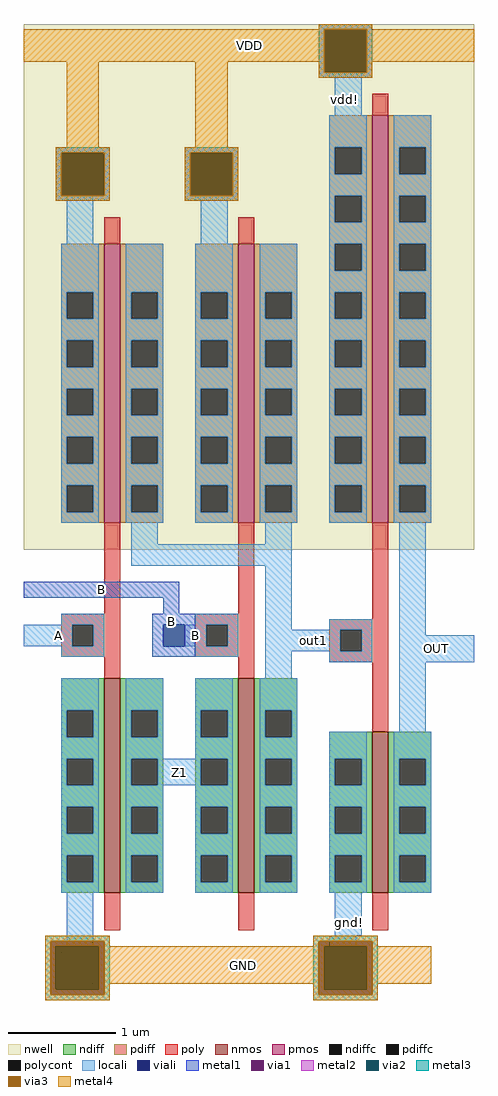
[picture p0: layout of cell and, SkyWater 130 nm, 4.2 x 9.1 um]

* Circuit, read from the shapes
.subckt and A B GND OUT VDD Z1 out1 vdd!
XM1 Z1 A GND VSUBS sky130_fd_pr__nfet_01v8 w=2 l=0.15
XM2 out1 B Z1 VSUBS sky130_fd_pr__nfet_01v8 w=2 l=0.15
XM3 OUT out1 GND VSUBS sky130_fd_pr__nfet_01v8 w=1.5 l=0.15
XM4 out1 A vdd! VDD sky130_fd_pr__pfet_01v8 w=2.6 l=0.15
XM5 out1 B vdd! VDD sky130_fd_pr__pfet_01v8 w=2.6 l=0.15
XM6 OUT out1 vdd! VDD sky130_fd_pr__pfet_01v8 w=3.8 l=0.15
.ends

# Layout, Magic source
magic
tech sky130A
<< nwell >>
rect -85 -15 335 475
<< nmos >>
rect -10 -335 5 -135
rect 115 -335 130 -135
rect 240 -335 255 -185
<< pmos >>
rect -10 10 5 270
rect 115 10 130 270
rect 240 10 255 390
<< ndiff >>
rect -50 -165 -10 -135
rect -50 -190 -45 -165
rect -20 -190 -10 -165
rect -50 -210 -10 -190
rect -50 -235 -45 -210
rect -20 -235 -10 -210
rect -50 -255 -10 -235
rect -50 -280 -45 -255
rect -20 -280 -10 -255
rect -50 -300 -10 -280
rect -50 -325 -45 -300
rect -20 -325 -10 -300
rect -50 -335 -10 -325
rect 5 -165 45 -135
rect 5 -190 15 -165
rect 40 -190 45 -165
rect 5 -210 45 -190
rect 5 -235 15 -210
rect 40 -235 45 -210
rect 5 -255 45 -235
rect 5 -280 15 -255
rect 40 -280 45 -255
rect 5 -300 45 -280
rect 5 -325 15 -300
rect 40 -325 45 -300
rect 5 -335 45 -325
rect 75 -165 115 -135
rect 75 -190 80 -165
rect 105 -190 115 -165
rect 75 -210 115 -190
rect 75 -235 80 -210
rect 105 -235 115 -210
rect 75 -255 115 -235
rect 75 -280 80 -255
rect 105 -280 115 -255
rect 75 -300 115 -280
rect 75 -325 80 -300
rect 105 -325 115 -300
rect 75 -335 115 -325
rect 130 -165 170 -135
rect 130 -190 140 -165
rect 165 -190 170 -165
rect 130 -210 170 -190
rect 130 -235 140 -210
rect 165 -235 170 -210
rect 130 -255 170 -235
rect 130 -280 140 -255
rect 165 -280 170 -255
rect 130 -300 170 -280
rect 130 -325 140 -300
rect 165 -325 170 -300
rect 130 -335 170 -325
rect 200 -210 240 -185
rect 200 -235 205 -210
rect 230 -235 240 -210
rect 200 -255 240 -235
rect 200 -280 205 -255
rect 230 -280 240 -255
rect 200 -300 240 -280
rect 200 -325 205 -300
rect 230 -325 240 -300
rect 200 -335 240 -325
rect 255 -210 295 -185
rect 255 -235 265 -210
rect 290 -235 295 -210
rect 255 -255 295 -235
rect 255 -280 265 -255
rect 290 -280 295 -255
rect 255 -300 295 -280
rect 255 -325 265 -300
rect 290 -325 295 -300
rect 255 -335 295 -325
<< pdiff >>
rect 200 360 240 390
rect 200 335 205 360
rect 230 335 240 360
rect 200 315 240 335
rect 200 290 205 315
rect 230 290 240 315
rect 200 270 240 290
rect -50 225 -10 270
rect -50 200 -45 225
rect -20 200 -10 225
rect -50 180 -10 200
rect -50 155 -45 180
rect -20 155 -10 180
rect -50 135 -10 155
rect -50 110 -45 135
rect -20 110 -10 135
rect -50 90 -10 110
rect -50 65 -45 90
rect -20 65 -10 90
rect -50 45 -10 65
rect -50 20 -45 45
rect -20 20 -10 45
rect -50 10 -10 20
rect 5 225 45 270
rect 5 200 15 225
rect 40 200 45 225
rect 5 180 45 200
rect 5 155 15 180
rect 40 155 45 180
rect 5 135 45 155
rect 5 110 15 135
rect 40 110 45 135
rect 5 90 45 110
rect 5 65 15 90
rect 40 65 45 90
rect 5 45 45 65
rect 5 20 15 45
rect 40 20 45 45
rect 5 10 45 20
rect 75 225 115 270
rect 75 200 80 225
rect 105 200 115 225
rect 75 180 115 200
rect 75 155 80 180
rect 105 155 115 180
rect 75 135 115 155
rect 75 110 80 135
rect 105 110 115 135
rect 75 90 115 110
rect 75 65 80 90
rect 105 65 115 90
rect 75 45 115 65
rect 75 20 80 45
rect 105 20 115 45
rect 75 10 115 20
rect 130 225 170 270
rect 130 200 140 225
rect 165 200 170 225
rect 130 180 170 200
rect 130 155 140 180
rect 165 155 170 180
rect 130 135 170 155
rect 130 110 140 135
rect 165 110 170 135
rect 130 90 170 110
rect 130 65 140 90
rect 165 65 170 90
rect 130 45 170 65
rect 130 20 140 45
rect 165 20 170 45
rect 130 10 170 20
rect 200 245 205 270
rect 230 245 240 270
rect 200 225 240 245
rect 200 200 205 225
rect 230 200 240 225
rect 200 180 240 200
rect 200 155 205 180
rect 230 155 240 180
rect 200 135 240 155
rect 200 110 205 135
rect 230 110 240 135
rect 200 90 240 110
rect 200 65 205 90
rect 230 65 240 90
rect 200 45 240 65
rect 200 20 205 45
rect 230 20 240 45
rect 200 10 240 20
rect 255 360 295 390
rect 255 335 265 360
rect 290 335 295 360
rect 255 315 295 335
rect 255 290 265 315
rect 290 290 295 315
rect 255 270 295 290
rect 255 245 265 270
rect 290 245 295 270
rect 255 225 295 245
rect 255 200 265 225
rect 290 200 295 225
rect 255 180 295 200
rect 255 155 265 180
rect 290 155 295 180
rect 255 135 295 155
rect 255 110 265 135
rect 290 110 295 135
rect 255 90 295 110
rect 255 65 265 90
rect 290 65 295 90
rect 255 45 295 65
rect 255 20 265 45
rect 290 20 295 45
rect 255 10 295 20
<< ndiffc >>
rect -45 -190 -20 -165
rect -45 -235 -20 -210
rect -45 -280 -20 -255
rect -45 -325 -20 -300
rect 15 -190 40 -165
rect 15 -235 40 -210
rect 15 -280 40 -255
rect 15 -325 40 -300
rect 80 -190 105 -165
rect 80 -235 105 -210
rect 80 -280 105 -255
rect 80 -325 105 -300
rect 140 -190 165 -165
rect 140 -235 165 -210
rect 140 -280 165 -255
rect 140 -325 165 -300
rect 205 -235 230 -210
rect 205 -280 230 -255
rect 205 -325 230 -300
rect 265 -235 290 -210
rect 265 -280 290 -255
rect 265 -325 290 -300
<< pdiffc >>
rect 205 335 230 360
rect 205 290 230 315
rect -45 200 -20 225
rect -45 155 -20 180
rect -45 110 -20 135
rect -45 65 -20 90
rect -45 20 -20 45
rect 15 200 40 225
rect 15 155 40 180
rect 15 110 40 135
rect 15 65 40 90
rect 15 20 40 45
rect 80 200 105 225
rect 80 155 105 180
rect 80 110 105 135
rect 80 65 105 90
rect 80 20 105 45
rect 140 200 165 225
rect 140 155 165 180
rect 140 110 165 135
rect 140 65 165 90
rect 140 20 165 45
rect 205 245 230 270
rect 205 200 230 225
rect 205 155 230 180
rect 205 110 230 135
rect 205 65 230 90
rect 205 20 230 45
rect 265 335 290 360
rect 265 290 290 315
rect 265 245 290 270
rect 265 200 290 225
rect 265 155 290 180
rect 265 110 290 135
rect 265 65 290 90
rect 265 20 290 45
<< poly >>
rect 240 390 255 410
rect -10 270 5 295
rect 115 270 130 295
rect -10 -75 5 10
rect 115 -75 130 10
rect -50 -85 5 -75
rect -50 -105 -40 -85
rect -20 -105 5 -85
rect -50 -115 5 -105
rect 75 -85 130 -75
rect 240 -80 255 10
rect 75 -105 85 -85
rect 105 -105 130 -85
rect 75 -115 130 -105
rect -10 -135 5 -115
rect 115 -135 130 -115
rect 200 -90 255 -80
rect 200 -110 210 -90
rect 230 -110 255 -90
rect 200 -120 255 -110
rect 240 -185 255 -120
rect -10 -370 5 -335
rect 115 -370 130 -335
rect 240 -370 255 -335
<< polycont >>
rect -40 -105 -20 -85
rect 85 -105 105 -85
rect 210 -110 230 -90
<< locali >>
rect 200 440 205 460
rect 225 440 230 460
rect 200 425 230 440
rect 205 390 230 425
rect 200 360 235 390
rect -45 325 -40 345
rect -45 270 -20 325
rect 75 325 80 345
rect 100 325 105 345
rect 75 310 105 325
rect 80 270 105 310
rect 200 335 205 360
rect 230 335 235 360
rect 200 315 235 335
rect 200 290 205 315
rect 230 290 235 315
rect 200 270 235 290
rect -50 225 -15 270
rect -50 200 -45 225
rect -20 200 -15 225
rect -50 180 -15 200
rect -50 155 -45 180
rect -20 155 -15 180
rect -50 135 -15 155
rect -50 110 -45 135
rect -20 110 -15 135
rect -50 90 -15 110
rect -50 65 -45 90
rect -20 65 -15 90
rect -50 45 -15 65
rect -50 20 -45 45
rect -20 20 -15 45
rect -50 10 -15 20
rect 10 225 45 270
rect 10 200 15 225
rect 40 200 45 225
rect 10 180 45 200
rect 10 155 15 180
rect 40 155 45 180
rect 10 135 45 155
rect 10 110 15 135
rect 40 110 45 135
rect 10 90 45 110
rect 10 65 15 90
rect 40 65 45 90
rect 10 45 45 65
rect 10 20 15 45
rect 40 20 45 45
rect 10 10 45 20
rect 75 225 110 270
rect 75 200 80 225
rect 105 200 110 225
rect 75 180 110 200
rect 75 155 80 180
rect 105 155 110 180
rect 75 135 110 155
rect 75 110 80 135
rect 105 110 110 135
rect 75 90 110 110
rect 75 65 80 90
rect 105 65 110 90
rect 75 45 110 65
rect 75 20 80 45
rect 105 20 110 45
rect 75 10 110 20
rect 135 225 170 270
rect 135 200 140 225
rect 165 200 170 225
rect 135 180 170 200
rect 135 155 140 180
rect 165 155 170 180
rect 135 135 170 155
rect 135 110 140 135
rect 165 110 170 135
rect 135 90 170 110
rect 135 65 140 90
rect 165 65 170 90
rect 135 45 170 65
rect 135 20 140 45
rect 165 20 170 45
rect 135 10 170 20
rect 200 245 205 270
rect 230 245 235 270
rect 200 225 235 245
rect 200 200 205 225
rect 230 200 235 225
rect 200 180 235 200
rect 200 155 205 180
rect 230 155 235 180
rect 200 135 235 155
rect 200 110 205 135
rect 230 110 235 135
rect 200 90 235 110
rect 200 65 205 90
rect 230 65 235 90
rect 200 45 235 65
rect 200 20 205 45
rect 230 20 235 45
rect 200 10 235 20
rect 260 360 295 390
rect 260 335 265 360
rect 290 335 295 360
rect 260 315 295 335
rect 260 290 265 315
rect 290 290 295 315
rect 260 270 295 290
rect 260 245 265 270
rect 290 245 295 270
rect 260 225 295 245
rect 260 200 265 225
rect 290 200 295 225
rect 260 180 295 200
rect 260 155 265 180
rect 290 155 295 180
rect 260 135 295 155
rect 260 110 265 135
rect 290 110 295 135
rect 260 90 295 110
rect 260 65 265 90
rect 290 65 295 90
rect 260 45 295 65
rect 260 20 265 45
rect 290 20 295 45
rect 260 10 295 20
rect 15 -10 40 10
rect 140 -10 165 10
rect 15 -30 165 -10
rect -50 -85 -10 -75
rect 75 -85 115 -75
rect -85 -105 -40 -85
rect -20 -105 -10 -85
rect 65 -105 85 -85
rect 105 -105 115 -85
rect -50 -115 -10 -105
rect 75 -115 115 -105
rect 140 -90 165 -30
rect 200 -90 240 -80
rect 140 -110 210 -90
rect 230 -110 240 -90
rect 140 -135 165 -110
rect 200 -120 240 -110
rect 265 -95 290 10
rect 265 -120 335 -95
rect -50 -165 -15 -135
rect -50 -190 -45 -165
rect -20 -190 -15 -165
rect -50 -210 -15 -190
rect -50 -235 -45 -210
rect -20 -235 -15 -210
rect -50 -255 -15 -235
rect -50 -280 -45 -255
rect -20 -280 -15 -255
rect -50 -300 -15 -280
rect -50 -325 -45 -300
rect -20 -325 -15 -300
rect -50 -335 -15 -325
rect 10 -165 45 -135
rect 10 -190 15 -165
rect 40 -190 45 -165
rect 10 -210 45 -190
rect 75 -165 110 -135
rect 75 -190 80 -165
rect 105 -190 110 -165
rect 75 -210 110 -190
rect 10 -235 15 -210
rect 40 -235 80 -210
rect 105 -235 110 -210
rect 10 -255 45 -235
rect 10 -280 15 -255
rect 40 -280 45 -255
rect 10 -300 45 -280
rect 10 -325 15 -300
rect 40 -325 45 -300
rect 10 -335 45 -325
rect 75 -255 110 -235
rect 75 -280 80 -255
rect 105 -280 110 -255
rect 75 -300 110 -280
rect 75 -325 80 -300
rect 105 -325 110 -300
rect 75 -335 110 -325
rect 135 -165 170 -135
rect 135 -190 140 -165
rect 165 -190 170 -165
rect 265 -185 290 -120
rect 135 -210 170 -190
rect 135 -235 140 -210
rect 165 -235 170 -210
rect 135 -255 170 -235
rect 135 -280 140 -255
rect 165 -280 170 -255
rect 135 -300 170 -280
rect 135 -325 140 -300
rect 165 -325 170 -300
rect 135 -335 170 -325
rect 200 -210 235 -185
rect 200 -235 205 -210
rect 230 -235 235 -210
rect 200 -255 235 -235
rect 200 -280 205 -255
rect 230 -280 235 -255
rect 200 -300 235 -280
rect 200 -325 205 -300
rect 230 -325 235 -300
rect 200 -335 235 -325
rect 260 -210 295 -185
rect 260 -235 265 -210
rect 290 -235 295 -210
rect 260 -255 295 -235
rect 260 -280 265 -255
rect 290 -280 295 -255
rect 260 -300 295 -280
rect 260 -325 265 -300
rect 290 -325 295 -300
rect 260 -335 295 -325
rect -45 -395 -20 -335
rect 205 -375 230 -335
rect -25 -415 -20 -395
rect 200 -395 225 -375
rect 200 -415 205 -395
<< viali >>
rect 205 440 225 460
rect -40 325 -20 345
rect 80 325 100 345
rect 45 -105 65 -85
rect -45 -415 -25 -395
rect 205 -415 225 -395
<< metal1 >>
rect 195 465 235 470
rect 195 435 200 465
rect 230 435 235 465
rect 195 430 235 435
rect -50 350 -10 355
rect -50 320 -45 350
rect -15 320 -10 350
rect -50 315 -10 320
rect 70 350 110 355
rect 70 320 75 350
rect 105 320 110 350
rect 70 315 110 320
rect -85 -60 60 -45
rect 45 -75 60 -60
rect 35 -85 75 -75
rect 35 -105 45 -85
rect 65 -105 75 -85
rect 35 -115 75 -105
rect -55 -390 -15 -385
rect -55 -420 -50 -390
rect -20 -420 -15 -390
rect -55 -425 -15 -420
rect 195 -390 235 -385
rect 195 -420 200 -390
rect 230 -420 235 -390
rect 195 -425 235 -420
<< via1 >>
rect 200 460 230 465
rect 200 440 205 460
rect 205 440 225 460
rect 225 440 230 460
rect 200 435 230 440
rect -45 345 -15 350
rect -45 325 -40 345
rect -40 325 -20 345
rect -20 325 -15 345
rect -45 320 -15 325
rect 75 345 105 350
rect 75 325 80 345
rect 80 325 100 345
rect 100 325 105 345
rect 75 320 105 325
rect -50 -395 -20 -390
rect -50 -415 -45 -395
rect -45 -415 -25 -395
rect -25 -415 -20 -395
rect -50 -420 -20 -415
rect 200 -395 230 -390
rect 200 -415 205 -395
rect 205 -415 225 -395
rect 225 -415 230 -395
rect 200 -420 230 -415
<< metal2 >>
rect 190 470 240 475
rect 190 430 195 470
rect 235 430 240 470
rect 190 425 240 430
rect -55 355 -5 360
rect -55 315 -50 355
rect -10 315 -5 355
rect -55 310 -5 315
rect 65 355 115 360
rect 65 315 70 355
rect 110 315 115 355
rect 65 310 115 315
rect -60 -385 -10 -380
rect -60 -425 -55 -385
rect -15 -425 -10 -385
rect -60 -430 -10 -425
rect 190 -385 240 -380
rect 190 -425 195 -385
rect 235 -425 240 -385
rect 190 -430 240 -425
<< via2 >>
rect 195 465 235 470
rect 195 435 200 465
rect 200 435 230 465
rect 230 435 235 465
rect 195 430 235 435
rect -50 350 -10 355
rect -50 320 -45 350
rect -45 320 -15 350
rect -15 320 -10 350
rect -50 315 -10 320
rect 70 350 110 355
rect 70 320 75 350
rect 75 320 105 350
rect 105 320 110 350
rect 70 315 110 320
rect -55 -390 -15 -385
rect -55 -420 -50 -390
rect -50 -420 -20 -390
rect -20 -420 -15 -390
rect -55 -425 -15 -420
rect 195 -390 235 -385
rect 195 -420 200 -390
rect 200 -420 230 -390
rect 230 -420 235 -390
rect 195 -425 235 -420
<< metal3 >>
rect 190 470 240 475
rect 190 430 195 470
rect 235 430 240 470
rect 190 425 240 430
rect -55 355 -5 360
rect -55 315 -50 355
rect -10 315 -5 355
rect -55 310 -5 315
rect 65 355 115 360
rect 65 315 70 355
rect 110 315 115 355
rect 65 310 115 315
rect -65 -380 -5 -375
rect -65 -430 -60 -380
rect -10 -430 -5 -380
rect -65 -435 -5 -430
rect 185 -380 245 -375
rect 185 -430 190 -380
rect 240 -430 245 -380
rect 185 -435 245 -430
<< via3 >>
rect 195 430 235 470
rect -50 315 -10 355
rect 70 315 110 355
rect -60 -385 -10 -380
rect -60 -425 -55 -385
rect -55 -425 -15 -385
rect -15 -425 -10 -385
rect -60 -430 -10 -425
rect 190 -385 240 -380
rect 190 -425 195 -385
rect 195 -425 235 -385
rect 235 -425 240 -385
rect 190 -430 240 -425
<< metal4 >>
rect 190 470 240 475
rect -85 440 195 470
rect -45 360 -15 440
rect 75 360 105 440
rect 190 430 195 440
rect 235 440 335 470
rect 235 430 240 440
rect 190 425 240 430
rect -55 355 -5 360
rect -55 315 -50 355
rect -10 315 -5 355
rect -55 310 -5 315
rect 65 355 115 360
rect 65 315 70 355
rect 110 315 115 355
rect 65 310 115 315
rect -65 -380 -5 -375
rect -65 -430 -60 -380
rect -10 -385 -5 -380
rect 185 -380 245 -375
rect 185 -385 190 -380
rect -10 -420 190 -385
rect -10 -430 -5 -420
rect -65 -435 -5 -430
rect 185 -430 190 -420
rect 240 -385 245 -380
rect 240 -420 295 -385
rect 240 -430 245 -420
rect 185 -435 245 -430
<< labels >>
rlabel metal4 -55 -420 295 -385 1 GND
rlabel nwell -85 440 335 470 1 VDD
rlabel locali 265 -120 335 -95 1 OUT
rlabel locali -85 -105 -20 -85 1 A
rlabel metal1 -85 -60 60 -45 1 B
rlabel metal1 45 -105 60 -60 1 B
rlabel locali 45 -105 105 -85 1 B
rlabel locali 15 -235 105 -210 1 Z1
rlabel locali 140 -110 230 -90 1 out1
rlabel locali 219 -363 219 -363 1 gnd!
rlabel locali 214 405 214 405 1 vdd!
<< end >>
